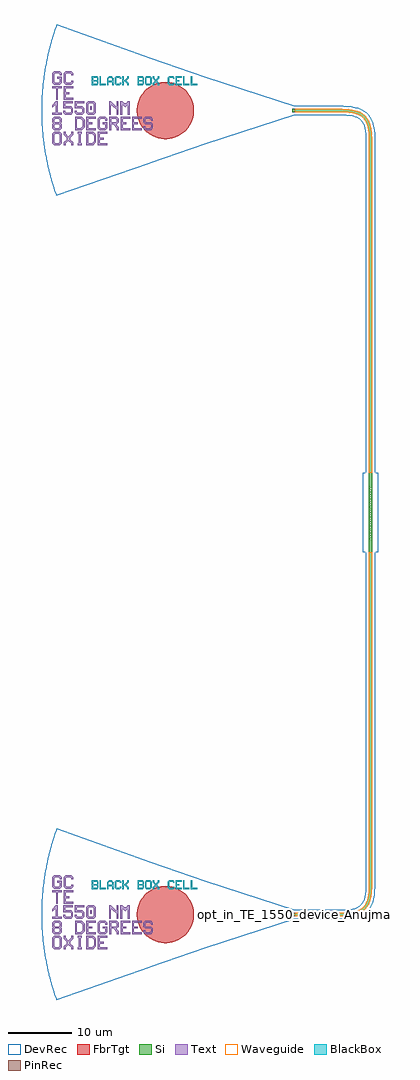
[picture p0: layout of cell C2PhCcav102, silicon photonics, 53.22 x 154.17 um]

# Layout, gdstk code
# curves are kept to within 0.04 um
from math import pi, radians
import gdstk
lib = gdstk.Library(unit=1e-6, precision=1e-09)
def R(c, l, rs):  # rectangles x0, y0, x1, y1
    for r in rs: c.add(gdstk.rectangle(r[:2], r[2:], *l))
def P(c, l, *ps):  # polygons
    for p in ps: c.add(gdstk.Polygon(p, *l))
Si = (1, 0)
PinRec = (1, 10)
Waveguide = (1, 99)
Text = (10, 0)
DevRec = (68, 0)
FbrTgt = (81, 0)
BlackBox = (998, 0)

text = lib.new_cell('TEXT')
P(text, BlackBox, [(0,0),(0,1.4),(0.8,1.4),(1,1.2),(0.2,1.2),(0.2,0.8),(0.7,0.8),(0.8,0.9),(0.8,1.1),(0.7,1.2),(1,1.2),(1,0.8),(0.9,0.7),(1,0.6),(0.2,0.6),(0.2,0.2),(0.7,0.2),(0.8,0.3),(0.8,0.5),(0.7,0.6),(1,0.6),(1,0.2),(0.8,0)],
  [(1.2,0),(1.2,1.4),(1.4,1.4),(1.4,0.2),(2.2,0.2),(2.2,0)],
  [(2.4,0),(2.4,1.1),(2.7,1.4),(3.1,1.4),(3.3,1.2),(2.8,1.2),(2.6,1),(2.6,0.7),(3.2,0.7),(3.2,1),(3,1.2),(3.3,1.2),(3.4,1.1),(3.4,0),(3.2,0),(3.2,0.5),(2.6,0.5),(2.6,0)],
  [(3.8,0),(3.6,0.2),(3.6,1.2),(3.8,1.4),(4.4,1.4),(4.6,1.2),(4.6,1),(4.4,1),(4.4,1.1),(4.3,1.2),(3.9,1.2),(3.8,1.1),(3.8,0.3),(3.9,0.2),(4.3,0.2),(4.4,0.3),(4.4,0.4),(4.6,0.4),(4.6,0.2),(4.4,0)],
  [(4.8,0),(4.8,1.4),(5,1.4),(5,0.8),(5.2,0.8),(5.6,1.2),(5.6,1.4),(5.8,1.4),(5.8,1.1),(5.4,0.7),(5.8,0.3),(5.8,0),(5.6,0),(5.6,0.2),(5.2,0.6),(5,0.6),(5,0)],
  [(7.2,0),(7.2,1.4),(8,1.4),(8.2,1.2),(7.4,1.2),(7.4,0.8),(7.9,0.8),(8,0.9),(8,1.1),(7.9,1.2),(8.2,1.2),(8.2,0.8),(8.1,0.7),(8.2,0.6),(7.4,0.6),(7.4,0.2),(7.9,0.2),(8,0.3),(8,0.5),(7.9,0.6),(8.2,0.6),(8.2,0.2),(8,0)],
  [(8.6,0),(8.4,0.2),(8.4,1.2),(8.6,1.4),(9.2,1.4),(9.4,1.2),(9.4,0.7),(9.2,0.7),(9.2,1.1),(9.1,1.2),(8.7,1.2),(8.6,1.1),(8.6,0.3),(8.7,0.2),(9.1,0.2),(9.2,0.3),(9.2,0.7),(9.4,0.7),(9.4,0.2),(9.2,0)],
  [(9.6,0),(9.6,0.3),(9.9,0.6),(9.9,0.8),(9.6,1.1),(9.6,1.4),(9.8,1.4),(9.8,1.2),(10.1,0.9),(10.4,1.2),(10.4,1.4),(10.6,1.4),(10.6,1.1),(10.3,0.8),(10.3,0.6),(10.6,0.3),(10.6,0),(10.4,0),(10.4,0.2),(10.1,0.5),(9.8,0.2),(9.8,0)],
  [(12.2,0),(12,0.2),(12,1.2),(12.2,1.4),(12.8,1.4),(13,1.2),(13,1),(12.8,1),(12.8,1.1),(12.7,1.2),(12.3,1.2),(12.2,1.1),(12.2,0.3),(12.3,0.2),(12.7,0.2),(12.8,0.3),(12.8,0.4),(13,0.4),(13,0.2),(12.8,0)],
  [(13.2,0),(13.2,1.4),(14.2,1.4),(14.2,1.2),(13.4,1.2),(13.4,0.8),(13.8,0.8),(13.8,0.6),(13.4,0.6),(13.4,0.2),(14.2,0.2),(14.2,0)],
  [(14.4,0),(14.4,1.4),(14.6,1.4),(14.6,0.2),(15.4,0.2),(15.4,0)],
  [(15.6,0),(15.6,1.4),(15.8,1.4),(15.8,0.2),(16.6,0.2),(16.6,0)])

gc_te_1550_8degoxide_bb = lib.new_cell('GC_TE_1550_8degOxide_BB')
R(gc_te_1550_8degoxide_bb, Si, [(-0.4,-0.25,0,0.25)])
R(gc_te_1550_8degoxide_bb, Text, [(-32.313,0.092,-32.013,0.692)])
P(gc_te_1550_8degoxide_bb, Text, [(-37.67,1.71),(-37.67,3.51),(-38.27,3.51),(-38.27,3.81),(-36.77,3.81),(-36.77,3.51),(-37.37,3.51),(-37.37,1.71)],
  [(-37.97,-5.49),(-38.27,-5.19),(-38.27,-3.69),(-37.97,-3.39),(-37.07,-3.39),(-36.77,-3.69),(-36.77,-4.44),(-37.07,-4.44),(-37.07,-3.84),(-37.22,-3.69),(-37.82,-3.69),(-37.97,-3.84),(-37.97,-5.04),(-37.82,-5.19),(-37.22,-5.19),(-37.07,-5.04),(-37.07,-4.44),(-36.77,-4.44),(-36.77,-5.19),(-37.07,-5.49)],
  [(-31.07,-5.49),(-31.07,-3.39),(-29.57,-3.39),(-29.57,-3.69),(-30.77,-3.69),(-30.77,-4.29),(-30.17,-4.29),(-30.17,-4.59),(-30.77,-4.59),(-30.77,-5.19),(-29.57,-5.19),(-29.57,-5.49)],
  [(-32.87,-3.09),(-32.87,-0.99),(-31.37,-0.99),(-31.37,-1.29),(-32.57,-1.29),(-32.57,-1.89),(-31.97,-1.89),(-31.97,-2.19),(-32.57,-2.19),(-32.57,-2.79),(-31.37,-2.79),(-31.37,-3.09)],
  [(-27.47,-3.09),(-27.47,-0.99),(-25.97,-0.99),(-25.97,-1.29),(-27.17,-1.29),(-27.17,-1.89),(-26.57,-1.89),(-26.57,-2.19),(-27.17,-2.19),(-27.17,-2.79),(-25.97,-2.79),(-25.97,-3.09)],
  [(-25.67,-3.09),(-25.67,-0.99),(-24.17,-0.99),(-24.17,-1.29),(-25.37,-1.29),(-25.37,-1.89),(-24.77,-1.89),(-24.77,-2.19),(-25.37,-2.19),(-25.37,-2.79),(-24.17,-2.79),(-24.17,-3.09)],
  [(-36.47,1.71),(-36.47,3.81),(-34.97,3.81),(-34.97,3.51),(-36.17,3.51),(-36.17,2.91),(-35.57,2.91),(-35.57,2.61),(-36.17,2.61),(-36.17,2.01),(-34.97,2.01),(-34.97,1.71)],
  [(-29.313,-0.658),(-29.313,1.442),(-29.013,1.442),(-28.263,0.692),(-28.113,0.692),(-28.113,1.442),(-27.813,1.442),(-27.813,-0.658),(-28.113,-0.658),(-28.113,0.092),(-28.863,0.842),(-29.013,0.842),(-29.013,-0.658)],
  [(-34.22,-5.49),(-34.22,-5.19),(-34.07,-5.19),(-34.07,-3.69),(-34.22,-3.69),(-34.22,-3.39),(-33.62,-3.39),(-33.62,-3.69),(-33.77,-3.69),(-33.77,-5.19),(-33.62,-5.19),(-33.62,-5.49)],
  [(-36.17,4.11),(-36.47,4.41),(-36.47,5.91),(-36.17,6.21),(-35.27,6.21),(-34.97,5.91),(-34.97,5.61),(-35.27,5.61),(-35.27,5.76),(-35.42,5.91),(-36.02,5.91),(-36.17,5.76),(-36.17,4.56),(-36.02,4.41),(-35.42,4.41),(-35.27,4.56),(-35.27,4.71),(-34.97,4.71),(-34.97,4.41),(-35.27,4.11)],
  [(-27.513,-0.658),(-27.513,1.442),(-27.213,1.442),(-26.913,1.142),(-26.613,1.142),(-26.313,1.442),(-26.013,1.442),(-26.013,-0.658),(-26.313,-0.658),(-26.313,0.842),(-26.463,0.842),(-26.763,0.542),(-27.063,0.842),(-27.213,0.842),(-27.213,-0.658)],
  [(-32.613,-0.658),(-32.913,-0.358),(-32.913,1.142),(-32.613,1.442),(-31.713,1.442),(-31.413,1.142),(-32.463,1.142),(-32.613,0.992),(-32.613,-0.208),(-32.463,-0.358),(-31.863,-0.358),(-31.713,-0.208),(-31.713,0.992),(-31.863,1.142),(-31.413,1.142),(-31.413,-0.358),(-31.713,-0.658)],
  [(-32.87,-5.49),(-32.87,-3.39),(-31.82,-3.39),(-31.52,-3.69),(-32.57,-3.69),(-32.57,-5.19),(-31.97,-5.19),(-31.67,-4.89),(-31.67,-3.99),(-31.97,-3.69),(-31.52,-3.69),(-31.37,-3.84),(-31.37,-5.04),(-31.82,-5.49)],
  [(-34.67,-3.09),(-34.67,-0.99),(-33.62,-0.99),(-33.32,-1.29),(-34.37,-1.29),(-34.37,-2.79),(-33.77,-2.79),(-33.47,-2.49),(-33.47,-1.59),(-33.77,-1.29),(-33.32,-1.29),(-33.17,-1.44),(-33.17,-2.64),(-33.62,-3.09)],
  [(-23.57,-3.09),(-23.87,-2.79),(-23.87,-2.49),(-23.57,-2.49),(-23.57,-2.64),(-23.42,-2.79),(-22.82,-2.79),(-22.67,-2.64),(-22.67,-2.34),(-22.82,-2.19),(-23.57,-2.19),(-23.87,-1.89),(-23.87,-1.29),(-23.57,-0.99),(-22.67,-0.99),(-22.37,-1.29),(-22.37,-1.59),(-22.67,-1.59),(-22.67,-1.44),(-22.82,-1.29),(-23.42,-1.29),(-23.57,-1.44),(-23.57,-1.74),(-23.42,-1.89),(-22.67,-1.89),(-22.37,-2.19),(-22.37,-2.79),(-22.67,-3.09)],
  [(-36.213,-0.658),(-36.513,-0.358),(-36.513,-0.058),(-36.213,-0.058),(-36.213,-0.208),(-36.063,-0.358),(-35.463,-0.358),(-35.313,-0.208),(-35.313,0.242),(-35.463,0.392),(-36.513,0.392),(-36.513,1.442),(-35.013,1.442),(-35.013,1.142),(-36.213,1.142),(-36.213,0.692),(-35.313,0.692),(-35.013,0.392),(-35.013,-0.358),(-35.313,-0.658)],
  [(-34.413,-0.658),(-34.713,-0.358),(-34.713,-0.058),(-34.413,-0.058),(-34.413,-0.208),(-34.263,-0.358),(-33.663,-0.358),(-33.513,-0.208),(-33.513,0.242),(-33.663,0.392),(-34.713,0.392),(-34.713,1.442),(-33.213,1.442),(-33.213,1.142),(-34.413,1.142),(-34.413,0.692),(-33.513,0.692),(-33.213,0.392),(-33.213,-0.358),(-33.513,-0.658)],
  [(-37.97,-3.09),(-38.27,-2.79),(-38.27,-2.19),(-38.12,-2.04),(-38.27,-1.89),(-38.27,-1.29),(-37.97,-0.99),(-37.07,-0.99),(-36.77,-1.29),(-37.82,-1.29),(-37.97,-1.44),(-37.97,-1.74),(-37.82,-1.89),(-37.22,-1.89),(-37.07,-1.74),(-37.07,-1.44),(-37.22,-1.29),(-36.77,-1.29),(-36.77,-1.89),(-36.92,-2.04),(-36.77,-2.19),(-37.82,-2.19),(-37.97,-2.34),(-37.97,-2.64),(-37.82,-2.79),(-37.22,-2.79),(-37.07,-2.64),(-37.07,-2.34),(-37.22,-2.19),(-36.77,-2.19),(-36.77,-2.79),(-37.07,-3.09)],
  [(-38.313,-0.658),(-38.313,-0.358),(-37.713,-0.358),(-37.713,0.842),(-37.863,0.842),(-38.163,0.542),(-38.313,0.542),(-38.313,0.842),(-37.713,1.442),(-37.413,1.442),(-37.413,-0.358),(-36.813,-0.358),(-36.813,-0.658)],
  [(-36.47,-5.49),(-36.47,-5.04),(-36.02,-4.59),(-36.02,-4.29),(-36.47,-3.84),(-36.47,-3.39),(-36.17,-3.39),(-36.17,-3.69),(-35.72,-4.14),(-35.27,-3.69),(-35.27,-3.39),(-34.97,-3.39),(-34.97,-3.84),(-35.42,-4.29),(-35.42,-4.59),(-34.97,-5.04),(-34.97,-5.49),(-35.27,-5.49),(-35.27,-5.19),(-35.72,-4.74),(-36.17,-5.19),(-36.17,-5.49)],
  [(-30.77,-3.09),(-31.07,-2.79),(-31.07,-1.29),(-30.77,-0.99),(-29.87,-0.99),(-29.57,-1.29),(-29.57,-1.59),(-29.87,-1.59),(-29.87,-1.44),(-30.02,-1.29),(-30.62,-1.29),(-30.77,-1.44),(-30.77,-2.64),(-30.62,-2.79),(-30.02,-2.79),(-29.87,-2.64),(-29.87,-2.19),(-30.32,-2.19),(-30.32,-1.89),(-29.57,-1.89),(-29.57,-2.79),(-29.87,-3.09)],
  [(-37.97,4.11),(-38.27,4.41),(-38.27,5.91),(-37.97,6.21),(-37.07,6.21),(-36.77,5.91),(-36.77,5.61),(-37.07,5.61),(-37.07,5.76),(-37.22,5.91),(-37.82,5.91),(-37.97,5.76),(-37.97,4.56),(-37.82,4.41),(-37.22,4.41),(-37.07,4.56),(-37.07,5.01),(-37.52,5.01),(-37.52,5.31),(-36.77,5.31),(-36.77,4.41),(-37.07,4.11)],
  [(-29.27,-3.09),(-29.27,-0.99),(-28.07,-0.99),(-27.77,-1.29),(-28.97,-1.29),(-28.97,-1.89),(-28.22,-1.89),(-28.07,-1.74),(-28.07,-1.44),(-28.22,-1.29),(-27.77,-1.29),(-27.77,-1.89),(-28.07,-2.19),(-28.07,-2.34),(-27.77,-2.64),(-27.77,-3.09),(-28.07,-3.09),(-28.07,-2.79),(-28.67,-2.19),(-28.97,-2.19),(-28.97,-3.09)])
P(gc_te_1550_8degoxide_bb, DevRec, [(-37.607,-13.5),(-38.627,-10.245),(-39.378,-6.832),(-39.647,-5.058),(-39.835,-3.274),(-39.969,0.224),(-39.812,3.541),(-39.331,7.097),(-38.557,10.505),(-37.546,13.669),(-22.8,8.353),(-14.109,5.36),(0,0.75),(0,-0.75),(-14.109,-5.36)])
P(gc_te_1550_8degoxide_bb, FbrTgt, [(-20.621,-4.5),(-21.495,-4.37),(-22.326,-4.073),(-23.084,-3.619),(-23.738,-3.026),(-24.264,-2.316),(-24.642,-1.518),(-24.857,-0.661),(-24.9,0.221),(-24.77,1.095),(-24.473,1.926),(-24.019,2.684),(-23.426,3.338),(-22.716,3.864),(-21.918,4.242),(-21.061,4.457),(-20.179,4.5),(-19.305,4.37),(-18.474,4.073),(-17.716,3.619),(-17.062,3.026),(-16.536,2.316),(-16.158,1.518),(-15.943,0.661),(-15.9,-0.221),(-16.03,-1.095),(-16.327,-1.926),(-16.781,-2.684),(-17.374,-3.338),(-18.084,-3.864),(-18.882,-4.242),(-19.739,-4.457)])
gc_te_1550_8degoxide_bb.add(gdstk.FlexPath([(-0.01,0),(0.01,0)], 0.5, ends="flush", simple_path=True, layer=1, datatype=10))  # PinRec
gc_te_1550_8degoxide_bb.add(gdstk.Reference(text, (-32,4)))
gc_te_1550_8degoxide_bb.add(gdstk.Label('opt1', (0,0), layer=1, texttype=10))
gc_te_1550_8degoxide_bb.add(gdstk.Label('Lumerical_INTERCONNECT_library=Design kits/ebeam', (-29,-7), layer=68, texttype=0))
gc_te_1550_8degoxide_bb.add(gdstk.Label('Component=GC_TE_1550_8degOxide_BB', (-28,-5), layer=68, texttype=0))

nanobeam_cav_r110nm_ac34 = lib.new_cell('nanobeam_cav_r110nm_ac345nm_am380nm_m2_s102')
P(nanobeam_cav_r110nm_ac34, Si, [(-6.294,-0.25),(-6.294,0.11),(-4.184,0.11),(-4.262,0.078),(-4.294,0.011),(-4.262,-0.078),(-4.184,-0.11),(-4.107,-0.078),(-4.074,0),(-4.099,0.07),(-4.184,0.11),(-3.797,0.11),(-3.874,0.078),(-3.907,0),(-3.882,-0.07),(-3.797,-0.11),(-3.719,-0.078),(-3.687,-0.011),(-3.719,0.078),(-3.797,0.11),(-3.416,0.11),(-3.494,0.078),(-3.526,0),(-3.494,-0.078),(-3.416,-0.11),(-3.338,-0.078),(-3.306,-0.011),(-3.338,0.078),(-3.416,0.11),(-3.041,0.11),(-3.119,0.078),(-3.151,0.011),(-3.119,-0.078),(-3.041,-0.11),(-2.963,-0.078),(-2.931,0),(-2.963,0.078),(-3.041,0.11),(-2.672,0.11),(-2.75,0.078),(-2.782,0),(-2.75,-0.078),(-2.672,-0.11),(-2.594,-0.078),(-2.562,-0.011),(-2.594,0.078),(-2.672,0.11),(-2.307,0.11),(-2.385,0.078),(-2.417,0),(-2.385,-0.078),(-2.307,-0.11),(-2.229,-0.078),(-2.197,0),(-2.229,0.078),(-2.307,0.11),(-1.946,0.11),(-2.024,0.078),(-2.056,0.011),(-2.024,-0.078),(-1.946,-0.11),(-1.868,-0.078),(-1.836,0),(-1.868,0.078),(-1.946,0.11),(-1.589,0.11),(-1.666,0.078),(-1.699,0),(-1.674,-0.07),(-1.589,-0.11),(-1.511,-0.078),(-1.479,-0.011),(-1.511,0.078),(-1.589,0.11),(-1.233,0.11),(-1.311,0.078),(-1.343,0.011),(-1.311,-0.078),(-1.233,-0.11),(-1.156,-0.078),(-1.123,0),(-1.148,0.07),(-1.233,0.11),(-0.88,0.11),(-0.958,0.078),(-0.99,0.011),(-0.958,-0.078),(-0.88,-0.11),(-0.802,-0.078),(-0.77,0),(-0.802,0.078),(-0.88,0.11),(-0.528,0.11),(-0.606,0.078),(-0.638,0),(-0.606,-0.078),(-0.528,-0.11),(-0.45,-0.078),(-0.418,-0.011),(-0.45,0.078),(-0.528,0.11),(-0.176,0.11),(-0.254,0.078),(-0.286,0),(-0.254,-0.078),(-0.176,-0.11),(-0.098,-0.078),(-0.066,-0.011),(-0.098,0.078),(-0.176,0.11),(0.176,0.11),(0.098,0.078),(0.066,0.011),(0.098,-0.078),(0.176,-0.11),(0.254,-0.078),(0.286,0),(0.254,0.078),(0.176,0.11),(0.528,0.11),(0.45,0.078),(0.418,0.011),(0.45,-0.078),(0.528,-0.11),(0.606,-0.078),(0.638,0),(0.606,0.078),(0.528,0.11),(0.88,0.11),(0.802,0.078),(0.77,0),(0.802,-0.078),(0.88,-0.11),(0.958,-0.078),(0.99,-0.011),(0.958,0.078),(0.88,0.11),(1.233,0.11),(1.156,0.078),(1.123,0),(1.148,-0.07),(1.233,-0.11),(1.311,-0.078),(1.343,-0.011),(1.311,0.078),(1.233,0.11),(1.589,0.11),(1.511,0.078),(1.479,0.011),(1.511,-0.078),(1.589,-0.11),(1.666,-0.078),(1.699,0),(1.674,0.07),(1.589,0.11),(1.946,0.11),(1.868,0.078),(1.836,0),(1.868,-0.078),(1.946,-0.11),(2.024,-0.078),(2.056,-0.011),(2.024,0.078),(1.946,0.11),(2.307,0.11),(2.229,0.078),(2.197,0),(2.229,-0.078),(2.307,-0.11),(2.385,-0.078),(2.417,0),(2.385,0.078),(2.307,0.11),(2.672,0.11),(2.594,0.078),(2.562,0.011),(2.594,-0.078),(2.672,-0.11),(2.75,-0.078),(2.782,0),(2.75,0.078),(2.672,0.11),(3.041,0.11),(2.963,0.078),(2.931,0),(2.963,-0.078),(3.041,-0.11),(3.119,-0.078),(3.151,-0.011),(3.119,0.078),(3.041,0.11),(3.416,0.11),(3.338,0.078),(3.306,0.011),(3.324,-0.061),(3.394,-0.108),(3.486,-0.085),(3.524,-0.021),(3.501,0.07),(3.416,0.11),(3.797,0.11),(3.719,0.078),(3.687,0.011),(3.705,-0.061),(3.775,-0.108),(3.858,-0.091),(3.905,-0.021),(3.882,0.07),(3.797,0.11),(4.184,0.11),(4.107,0.078),(4.075,0.011),(4.099,-0.07),(4.163,-0.108),(4.254,-0.085),(4.294,-0.011),(4.262,0.078),(4.184,0.11),(-6.294,0.11),(-6.294,0.25),(6.294,0.25),(6.294,-0.25)])
R(nanobeam_cav_r110nm_ac34, DevRec, [(-6.294,-1.25,6.294,1.25)])
nanobeam_cav_r110nm_ac34.add(gdstk.FlexPath([(-6.284,0),(-6.304,0)], 0.5, ends="flush", simple_path=True, layer=1, datatype=10))  # PinRec
nanobeam_cav_r110nm_ac34.add(gdstk.FlexPath([(6.284,0),(6.304,0)], 0.5, ends="flush", simple_path=True, layer=1, datatype=10))  # PinRec
nanobeam_cav_r110nm_ac34.add(gdstk.Label('opt1', (-6.294,0), layer=1, texttype=10))
nanobeam_cav_r110nm_ac34.add(gdstk.Label('opt2', (6.294,0), layer=1, texttype=10))
nanobeam_cav_r110nm_ac34.add(gdstk.Label('Lumerical_INTERCONNECT_library=Custom/SiEPIC_user', (0,0), layer=68, texttype=0))
nanobeam_cav_r110nm_ac34.add(gdstk.Label('Component=nanobeam_cav_r110nm_ac345nm_am380nm_m2_s102', (0,-0.5), layer=68, texttype=0))
nanobeam_cav_r110nm_ac34.add(gdstk.Label('Spice_param:r=0.110u holes=24', (0,-1), layer=68, texttype=0))

waveguide_53 = lib.new_cell('Waveguide$53')
P(waveguide_53, Si, [(500.75,69.794),(500.75,122),(500.712,123.206),(500.585,124.196),(500.314,125.093),(499.897,125.746),(499.304,126.209),(498.48,126.521),(497.56,126.678),(496.428,126.745),(489,126.75),(489,127.25),(496.438,127.245),(497.614,127.176),(498.45,127.042),(499.423,126.71),(500.177,126.177),(500.711,125.422),(501.043,124.449),(501.195,123.431),(501.25,122),(501.25,69.794)])
P(waveguide_53, Waveguide, [(500.75,69.794),(500.75,122),(500.712,123.206),(500.585,124.196),(500.314,125.093),(499.897,125.746),(499.304,126.209),(498.48,126.521),(497.56,126.678),(496.428,126.745),(489,126.75),(489,127.25),(496.438,127.245),(497.614,127.176),(498.45,127.042),(499.423,126.71),(500.177,126.177),(500.711,125.422),(501.043,124.449),(501.195,123.431),(501.25,122),(501.25,69.794)])
P(waveguide_53, DevRec, [(500.25,69.794),(500.25,122),(500.208,123.23),(500.075,124.193),(499.855,124.895),(499.558,125.375),(499.376,125.557),(498.896,125.854),(498.194,126.074),(496.65,126.239),(489,126.25),(489,127.75),(496.702,127.739),(498.51,127.54),(499.51,127.222),(500.35,126.697),(500.989,125.95),(501.223,125.509),(501.541,124.509),(501.704,123.35),(501.75,122),(501.75,69.794)])
waveguide_53.add(gdstk.FlexPath([(501,69.804),(501,69.784)], 0.5, ends="flush", simple_path=True, layer=1, datatype=10))  # PinRec
waveguide_53.add(gdstk.FlexPath([(489.01,127),(488.99,127)], 0.5, ends="flush", simple_path=True, layer=1, datatype=10))  # PinRec
waveguide_53.add(gdstk.Label('opt1', (501,69.794), layer=1, texttype=10))
waveguide_53.add(gdstk.Label('opt2', (489,127), layer=1, texttype=10))
waveguide_53.add(gdstk.Label('Lumerical_INTERCONNECT_library=Design kits/EBeam', (500.9,69.794), layer=68, texttype=0))
waveguide_53.add(gdstk.Label('Component=ebeam_wg_integral_1550', (501.1,69.794), layer=68, texttype=0))
waveguide_53.add(gdstk.Label('cellName=Waveguide', (501.2,69.794), layer=68, texttype=0))
waveguide_53.add(gdstk.Label('Spice_param:wg_length=0.000067654 wg_width=5e-07 points="[[501.0,69.794],[501.0,127.0],[489.0,127.0]]" radius=5e-06', (501,69.794), layer=68, texttype=0))
waveguide_53.add(gdstk.Label('Length=67.654 (microns)', (500.4,69.794), layer=68, texttype=0))
waveguide_53.add(gdstk.Label('waveguide_type=Strip TE 1550 nm, w=500 nm', (500.8,69.794), layer=68, texttype=0))

waveguide_52 = lib.new_cell('Waveguide$52')
P(waveguide_52, Si, [(489,-0.25),(489,0.25),(496.427,0.254),(497.559,0.321),(498.479,0.478),(499.303,0.79),(499.896,1.253),(500.313,1.906),(500.554,2.658),(500.711,3.793),(500.75,5),(500.75,57.206),(501.25,57.206),(501.25,5),(501.194,3.568),(501.042,2.55),(500.71,1.577),(500.177,0.823),(499.422,0.289),(498.449,-0.043),(497.613,-0.177),(496.437,-0.246)])
P(waveguide_52, Waveguide, [(489,-0.25),(489,0.25),(496.427,0.254),(497.559,0.321),(498.479,0.478),(499.303,0.79),(499.896,1.253),(500.313,1.906),(500.554,2.658),(500.711,3.793),(500.75,5),(500.75,57.206),(501.25,57.206),(501.25,5),(501.194,3.568),(501.042,2.55),(500.71,1.577),(500.177,0.823),(499.422,0.289),(498.449,-0.043),(497.613,-0.177),(496.437,-0.246)])
P(waveguide_52, DevRec, [(489,-0.75),(489,0.75),(496.649,0.76),(498.193,0.925),(498.895,1.145),(499.375,1.442),(499.557,1.624),(499.854,2.104),(500.074,2.806),(500.207,3.769),(500.25,5),(500.25,57.206),(501.75,57.206),(501.75,5),(501.703,3.649),(501.54,2.49),(501.222,1.49),(500.697,0.65),(499.95,0.011),(499.509,-0.223),(498.509,-0.541),(496.701,-0.74)])
waveguide_52.add(gdstk.FlexPath([(489.01,0),(488.99,0)], 0.5, ends="flush", simple_path=True, layer=1, datatype=10))  # PinRec
waveguide_52.add(gdstk.FlexPath([(501,57.196),(501,57.216)], 0.5, ends="flush", simple_path=True, layer=1, datatype=10))  # PinRec
waveguide_52.add(gdstk.Label('opt1', (489,0), layer=1, texttype=10))
waveguide_52.add(gdstk.Label('opt2', (501,57.206), layer=1, texttype=10))
waveguide_52.add(gdstk.Label('Lumerical_INTERCONNECT_library=Design kits/EBeam', (489,-0.1), layer=68, texttype=0))
waveguide_52.add(gdstk.Label('Component=ebeam_wg_integral_1550', (489,0.1), layer=68, texttype=0))
waveguide_52.add(gdstk.Label('cellName=Waveguide', (489,0.2), layer=68, texttype=0))
waveguide_52.add(gdstk.Label('Spice_param:wg_length=0.000067654 wg_width=5e-07 points="[[489.0,0.0],[501.0,0.0],[501.0,57.206]]" radius=5e-06', (489,0), layer=68, texttype=0))
waveguide_52.add(gdstk.Label('Length=67.654 (microns)', (489,-0.6), layer=68, texttype=0))
waveguide_52.add(gdstk.Label('waveguide_type=Strip TE 1550 nm, w=500 nm', (489,-0.2), layer=68, texttype=0))

c2phccav102 = lib.new_cell('C2PhCcav102')
c2phccav102.add(gdstk.Reference(gc_te_1550_8degoxide_bb, (489,0)))
c2phccav102.add(gdstk.Reference(gc_te_1550_8degoxide_bb, (489,127)))
c2phccav102.add(gdstk.Reference(nanobeam_cav_r110nm_ac34, (501,63.5), rotation=pi/2))
c2phccav102.add(gdstk.Reference(waveguide_53, (0,0)))
c2phccav102.add(gdstk.Reference(waveguide_52, (0,0)))
c2phccav102.add(gdstk.Label('opt_in_TE_1550_device_Anujmaverick_C2PhCcav102', (489,0), layer=10, texttype=0))

lib.write_gds('C2PhCcav102.gds')
